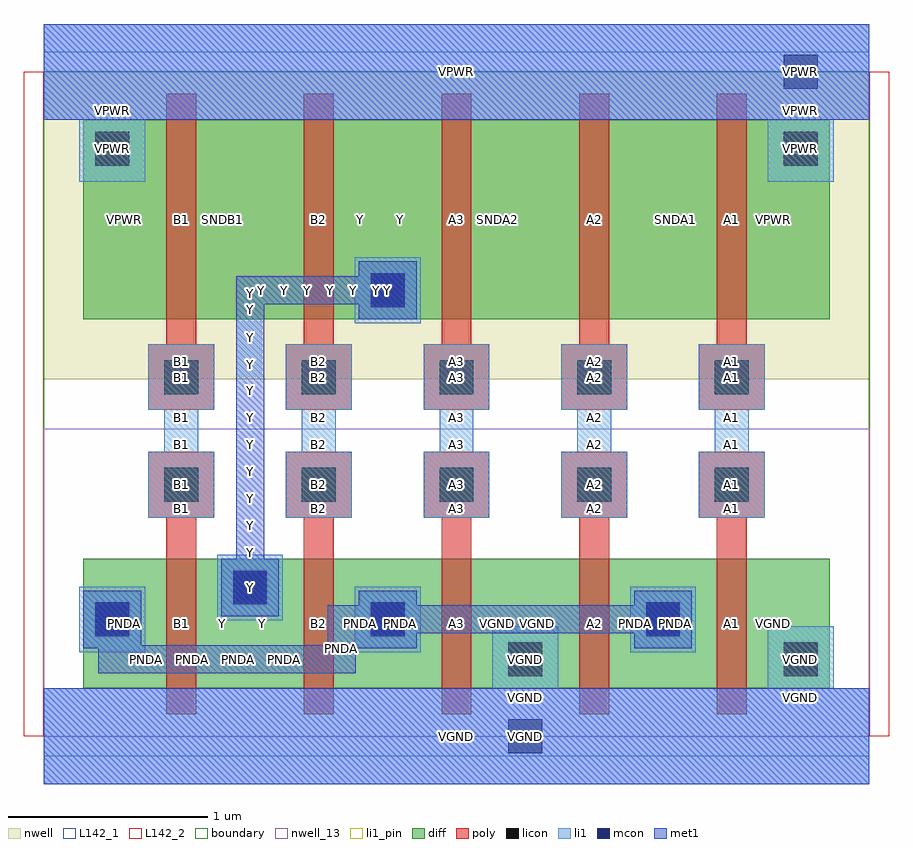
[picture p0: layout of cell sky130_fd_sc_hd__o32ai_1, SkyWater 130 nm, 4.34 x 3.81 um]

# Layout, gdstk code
import gdstk
lib = gdstk.Library(unit=1e-6, precision=1e-09)
def R(c, l, rs):  # rectangles x0, y0, x1, y1
    for r in rs: c.add(gdstk.rectangle(r[:2], r[2:], *l))
def A(c, l, x, y, w, h, nx, ny, dx, dy):  # array of equal rectangles
    R(c, l, [(x+i*dx, y+j*dy, x+i*dx+w, y+j*dy+h) for i in range(nx) for j in range(ny)])
def P(c, l, *ps):  # polygons
    for p in ps: c.add(gdstk.Polygon(p, *l))
nwell_13 = (64, 13)
nwell = (64, 20)
diff = (65, 20)
poly = (66, 20)
licon = (66, 44)
li1_pin = (67, 16)
li1 = (67, 20)
mcon = (67, 44)
met1 = (68, 20)
L142_1 = (142, 1)
L142_2 = (142, 2)
boundary = (235, 4)

sky130_fd_sc_hd__o32ai_1 = lib.new_cell('sky130_fd_sc_hd__o32ai_1')
R(sky130_fd_sc_hd__o32ai_1, nwell_13, [(0,0,4.14,1.54)])
R(sky130_fd_sc_hd__o32ai_1, nwell, [(0,1.79,4.14,3.33)])
A(sky130_fd_sc_hd__o32ai_1, diff, 0.615, 0.24, 0.69, 0.65, 4, 1, 0.69, 0)
A(sky130_fd_sc_hd__o32ai_1, diff, 0.615, 2.09, 0.69, 1, 4, 1, 0.69, 0)
R(sky130_fd_sc_hd__o32ai_1, diff, [(0.2,0.24,3.94,0.89), (0.2,0.24,0.615,0.89), (3.375,0.24,3.94,0.89), (0.2,2.09,3.94,3.09), (0.2,2.09,0.615,3.09), (3.375,2.09,3.94,3.09)])
P(sky130_fd_sc_hd__o32ai_1, poly, [(1.305,0.11),(1.305,1.095),(1.215,1.095),(1.215,1.425),(1.545,1.425),(1.545,1.095),(1.455,1.095),(1.455,0.11)],
  [(1.215,1.635),(1.215,1.965),(1.305,1.965),(1.305,3.22),(1.455,3.22),(1.455,1.965),(1.545,1.965),(1.545,1.635)],
  [(2.685,0.11),(2.685,1.095),(2.595,1.095),(2.595,1.425),(2.925,1.425),(2.925,1.095),(2.835,1.095),(2.835,0.11)],
  [(2.595,1.635),(2.595,1.965),(2.685,1.965),(2.685,3.22),(2.835,3.22),(2.835,1.965),(2.925,1.965),(2.925,1.635)],
  [(3.375,0.11),(3.375,1.095),(3.285,1.095),(3.285,1.425),(3.615,1.425),(3.615,1.095),(3.525,1.095),(3.525,0.11)],
  [(3.285,1.635),(3.285,1.965),(3.375,1.965),(3.375,3.22),(3.525,3.22),(3.525,1.965),(3.615,1.965),(3.615,1.635)],
  [(1.995,0.11),(1.995,1.095),(1.905,1.095),(1.905,1.425),(2.235,1.425),(2.235,1.095),(2.145,1.095),(2.145,0.11)],
  [(1.905,1.635),(1.905,1.965),(1.995,1.965),(1.995,3.22),(2.145,3.22),(2.145,1.965),(2.235,1.965),(2.235,1.635)],
  [(0.615,0.11),(0.615,1.095),(0.525,1.095),(0.525,1.425),(0.855,1.425),(0.855,1.095),(0.765,1.095),(0.765,0.11)],
  [(0.525,1.635),(0.525,1.965),(0.615,1.965),(0.615,3.22),(0.765,3.22),(0.765,1.965),(0.855,1.965),(0.855,1.635)])
A(sky130_fd_sc_hd__o32ai_1, licon, 0.26, 0.5, 0.17, 0.17, 3, 1, 1.38, 0)
A(sky130_fd_sc_hd__o32ai_1, licon, 0.605, 1.175, 0.17, 0.17, 5, 2, 0.69, 0.54)
R(sky130_fd_sc_hd__o32ai_1, licon, [(2.33,0.3,2.5,0.47), (3.71,0.3,3.88,0.47), (0.95,0.66,1.12,0.83), (1.64,2.15,1.81,2.32), (0.26,2.86,0.43,3.03), (3.71,2.86,3.88,3.03)])
R(sky130_fd_sc_hd__o32ai_1, li1_pin, [(0,-0.24,4.14,0.24), (0.87,0.58,1.2,0.91), (0,3.09,4.14,3.57)])
P(sky130_fd_sc_hd__o32ai_1, li1_pin, [(1.215,1.095),(1.215,1.425),(1.295,1.425),(1.295,1.635),(1.215,1.635),(1.215,1.965),(1.545,1.965),(1.545,1.635),(1.465,1.635),(1.465,1.425),(1.545,1.425),(1.545,1.095)],
  [(1.905,1.095),(1.905,1.425),(1.985,1.425),(1.985,1.635),(1.905,1.635),(1.905,1.965),(2.235,1.965),(2.235,1.635),(2.155,1.635),(2.155,1.425),(2.235,1.425),(2.235,1.095)],
  [(3.285,1.095),(3.285,1.425),(3.365,1.425),(3.365,1.635),(3.285,1.635),(3.285,1.965),(3.615,1.965),(3.615,1.635),(3.535,1.635),(3.535,1.425),(3.615,1.425),(3.615,1.095)],
  [(2.595,1.095),(2.595,1.425),(2.675,1.425),(2.675,1.635),(2.595,1.635),(2.595,1.965),(2.925,1.965),(2.925,1.635),(2.845,1.635),(2.845,1.425),(2.925,1.425),(2.925,1.095)],
  [(0.525,1.095),(0.525,1.425),(0.605,1.425),(0.605,1.635),(0.525,1.635),(0.525,1.965),(0.855,1.965),(0.855,1.635),(0.775,1.635),(0.775,1.425),(0.855,1.425),(0.855,1.095)])
A(sky130_fd_sc_hd__o32ai_1, li1, 0.18, 0.42, 0.33, 0.33, 3, 1, 1.38, 0)
R(sky130_fd_sc_hd__o32ai_1, li1, [(0.87,0.58,1.2,0.91), (1.56,2.07,1.89,2.4)])
P(sky130_fd_sc_hd__o32ai_1, li1, [(1.215,1.095),(1.215,1.425),(1.295,1.425),(1.295,1.635),(1.215,1.635),(1.215,1.965),(1.545,1.965),(1.545,1.635),(1.465,1.635),(1.465,1.425),(1.545,1.425),(1.545,1.095)],
  [(2.595,1.095),(2.595,1.425),(2.675,1.425),(2.675,1.635),(2.595,1.635),(2.595,1.965),(2.925,1.965),(2.925,1.635),(2.845,1.635),(2.845,1.425),(2.925,1.425),(2.925,1.095)],
  [(0.18,2.78),(0.18,3.09),(0,3.09),(0,3.57),(4.14,3.57),(4.14,3.09),(3.96,3.09),(3.96,2.78),(3.63,2.78),(3.63,3.09),(0.51,3.09),(0.51,2.78)],
  [(3.285,1.095),(3.285,1.425),(3.365,1.425),(3.365,1.635),(3.285,1.635),(3.285,1.965),(3.615,1.965),(3.615,1.635),(3.535,1.635),(3.535,1.425),(3.615,1.425),(3.615,1.095)],
  [(0,-0.24),(0,0.24),(2.25,0.24),(2.25,0.55),(2.58,0.55),(2.58,0.24),(3.63,0.24),(3.63,0.55),(3.96,0.55),(3.96,0.24),(4.14,0.24),(4.14,-0.24)],
  [(1.905,1.095),(1.905,1.425),(1.985,1.425),(1.985,1.635),(1.905,1.635),(1.905,1.965),(2.235,1.965),(2.235,1.635),(2.155,1.635),(2.155,1.425),(2.235,1.425),(2.235,1.095)],
  [(0.525,1.095),(0.525,1.425),(0.605,1.425),(0.605,1.635),(0.525,1.635),(0.525,1.965),(0.855,1.965),(0.855,1.635),(0.775,1.635),(0.775,1.425),(0.855,1.425),(0.855,1.095)])
A(sky130_fd_sc_hd__o32ai_1, mcon, 0.26, 0.5, 0.17, 0.17, 3, 1, 1.38, 0)
R(sky130_fd_sc_hd__o32ai_1, mcon, [(2.33,-0.085,2.5,0.085), (0.95,0.66,1.12,0.83), (1.64,2.15,1.81,2.32), (3.71,3.245,3.88,3.415)])
R(sky130_fd_sc_hd__o32ai_1, met1, [(0,-0.24,4.14,0.24), (1.565,0.44,1.58,0.515), (0,3.09,4.14,3.57)])
P(sky130_fd_sc_hd__o32ai_1, met1, [(0.89,0.6),(0.89,0.89),(0.965,0.89),(0.965,2.305),(1.58,2.305),(1.58,2.38),(1.87,2.38),(1.87,2.09),(1.58,2.09),(1.58,2.165),(1.105,2.165),(1.105,0.89),(1.18,0.89),(1.18,0.6)],
  [(0.275,0.315),(0.275,0.44),(0.2,0.44),(0.2,0.73),(0.49,0.73),(0.49,0.455),(1.425,0.455),(1.425,0.655),(1.58,0.655),(1.58,0.73),(1.87,0.73),(1.87,0.655),(2.96,0.655),(2.96,0.73),(3.25,0.73),(3.25,0.44),(2.96,0.44),(2.96,0.515),(1.87,0.515),(1.87,0.44),(1.58,0.44),(1.58,0.515),(1.565,0.515),(1.565,0.315)])
R(sky130_fd_sc_hd__o32ai_1, L142_1, [(0,-0.1,4.14,0), (0,3.33,4.14,3.43)])
R(sky130_fd_sc_hd__o32ai_1, L142_2, [(-0.1,0,0,3.33), (4.14,0,4.24,3.33)])
R(sky130_fd_sc_hd__o32ai_1, boundary, [(0,0,4.14,3.33)])
sky130_fd_sc_hd__o32ai_1.add(gdstk.Label('Y', (1.097,0.565), layer=65, texttype=20))
sky130_fd_sc_hd__o32ai_1.add(gdstk.Label('PNDA', (1.587,0.565), layer=65, texttype=20))
sky130_fd_sc_hd__o32ai_1.add(gdstk.Label('PNDA', (1.787,0.565), layer=65, texttype=20))
sky130_fd_sc_hd__o32ai_1.add(gdstk.Label('VGND', (2.277,0.565), layer=65, texttype=20))
sky130_fd_sc_hd__o32ai_1.add(gdstk.Label('PNDA', (3.167,0.565), layer=65, texttype=20))
sky130_fd_sc_hd__o32ai_1.add(gdstk.Label('VGND', (3.657,0.565), layer=65, texttype=20))
sky130_fd_sc_hd__o32ai_1.add(gdstk.Label('VGND', (2.477,0.565), layer=65, texttype=20))
sky130_fd_sc_hd__o32ai_1.add(gdstk.Label('PNDA', (2.967,0.565), layer=65, texttype=20))
sky130_fd_sc_hd__o32ai_1.add(gdstk.Label('PNDA', (0.407,0.565), layer=65, texttype=20))
sky130_fd_sc_hd__o32ai_1.add(gdstk.Label('Y', (0.897,0.565), layer=65, texttype=20))
sky130_fd_sc_hd__o32ai_1.add(gdstk.Label('Y', (1.097,0.565), layer=65, texttype=20))
sky130_fd_sc_hd__o32ai_1.add(gdstk.Label('PNDA', (1.587,0.565), layer=65, texttype=20))
sky130_fd_sc_hd__o32ai_1.add(gdstk.Label('PNDA', (1.787,0.565), layer=65, texttype=20))
sky130_fd_sc_hd__o32ai_1.add(gdstk.Label('VGND', (2.277,0.565), layer=65, texttype=20))
sky130_fd_sc_hd__o32ai_1.add(gdstk.Label('PNDA', (3.167,0.565), layer=65, texttype=20))
sky130_fd_sc_hd__o32ai_1.add(gdstk.Label('VGND', (3.657,0.565), layer=65, texttype=20))
sky130_fd_sc_hd__o32ai_1.add(gdstk.Label('VGND', (2.477,0.565), layer=65, texttype=20))
sky130_fd_sc_hd__o32ai_1.add(gdstk.Label('PNDA', (2.967,0.565), layer=65, texttype=20))
sky130_fd_sc_hd__o32ai_1.add(gdstk.Label('PNDA', (0.407,0.565), layer=65, texttype=20))
sky130_fd_sc_hd__o32ai_1.add(gdstk.Label('Y', (0.897,0.565), layer=65, texttype=20))
sky130_fd_sc_hd__o32ai_1.add(gdstk.Label('Y', (1.035,0.745), layer=65, texttype=20))
sky130_fd_sc_hd__o32ai_1.add(gdstk.Label('PNDA', (1.725,0.585), layer=65, texttype=20))
sky130_fd_sc_hd__o32ai_1.add(gdstk.Label('PNDA', (3.105,0.585), layer=65, texttype=20))
sky130_fd_sc_hd__o32ai_1.add(gdstk.Label('PNDA', (0.345,0.585), layer=65, texttype=20))
sky130_fd_sc_hd__o32ai_1.add(gdstk.Label('VGND', (2.415,0.385), layer=65, texttype=20))
sky130_fd_sc_hd__o32ai_1.add(gdstk.Label('VGND', (3.795,0.385), layer=65, texttype=20))
sky130_fd_sc_hd__o32ai_1.add(gdstk.Label('Y', (1.787,2.59), layer=65, texttype=20))
sky130_fd_sc_hd__o32ai_1.add(gdstk.Label('SNDA2', (2.277,2.59), layer=65, texttype=20))
sky130_fd_sc_hd__o32ai_1.add(gdstk.Label('SNDA1', (3.167,2.59), layer=65, texttype=20))
sky130_fd_sc_hd__o32ai_1.add(gdstk.Label('VPWR', (3.657,2.59), layer=65, texttype=20))
sky130_fd_sc_hd__o32ai_1.add(gdstk.Label('VPWR', (0.407,2.59), layer=65, texttype=20))
sky130_fd_sc_hd__o32ai_1.add(gdstk.Label('SNDB1', (0.897,2.59), layer=65, texttype=20))
sky130_fd_sc_hd__o32ai_1.add(gdstk.Label('SNDA2', (2.477,2.59), layer=65, texttype=20))
sky130_fd_sc_hd__o32ai_1.add(gdstk.Label('SNDA1', (2.967,2.59), layer=65, texttype=20))
sky130_fd_sc_hd__o32ai_1.add(gdstk.Label('SNDB1', (1.097,2.59), layer=65, texttype=20))
sky130_fd_sc_hd__o32ai_1.add(gdstk.Label('Y', (1.587,2.59), layer=65, texttype=20))
sky130_fd_sc_hd__o32ai_1.add(gdstk.Label('Y', (1.787,2.59), layer=65, texttype=20))
sky130_fd_sc_hd__o32ai_1.add(gdstk.Label('SNDA2', (2.277,2.59), layer=65, texttype=20))
sky130_fd_sc_hd__o32ai_1.add(gdstk.Label('SNDA1', (3.167,2.59), layer=65, texttype=20))
sky130_fd_sc_hd__o32ai_1.add(gdstk.Label('VPWR', (3.657,2.59), layer=65, texttype=20))
sky130_fd_sc_hd__o32ai_1.add(gdstk.Label('VPWR', (0.407,2.59), layer=65, texttype=20))
sky130_fd_sc_hd__o32ai_1.add(gdstk.Label('SNDB1', (0.897,2.59), layer=65, texttype=20))
sky130_fd_sc_hd__o32ai_1.add(gdstk.Label('SNDA2', (2.477,2.59), layer=65, texttype=20))
sky130_fd_sc_hd__o32ai_1.add(gdstk.Label('SNDA1', (2.967,2.59), layer=65, texttype=20))
sky130_fd_sc_hd__o32ai_1.add(gdstk.Label('SNDB1', (1.097,2.59), layer=65, texttype=20))
sky130_fd_sc_hd__o32ai_1.add(gdstk.Label('Y', (1.587,2.59), layer=65, texttype=20))
sky130_fd_sc_hd__o32ai_1.add(gdstk.Label('Y', (1.725,2.235), layer=65, texttype=20))
sky130_fd_sc_hd__o32ai_1.add(gdstk.Label('VPWR', (3.795,2.945), layer=65, texttype=20))
sky130_fd_sc_hd__o32ai_1.add(gdstk.Label('VPWR', (0.345,2.945), layer=65, texttype=20))
sky130_fd_sc_hd__o32ai_1.add(gdstk.Label('B2', (1.38,0.565), layer=66, texttype=20))
sky130_fd_sc_hd__o32ai_1.add(gdstk.Label('A3', (2.07,2.59), layer=66, texttype=20))
sky130_fd_sc_hd__o32ai_1.add(gdstk.Label('A3', (2.07,0.565), layer=66, texttype=20))
sky130_fd_sc_hd__o32ai_1.add(gdstk.Label('A1', (3.45,0.565), layer=66, texttype=20))
sky130_fd_sc_hd__o32ai_1.add(gdstk.Label('A2', (2.76,0.565), layer=66, texttype=20))
sky130_fd_sc_hd__o32ai_1.add(gdstk.Label('A1', (3.45,2.59), layer=66, texttype=20))
sky130_fd_sc_hd__o32ai_1.add(gdstk.Label('B1', (0.69,2.59), layer=66, texttype=20))
sky130_fd_sc_hd__o32ai_1.add(gdstk.Label('A2', (2.76,2.59), layer=66, texttype=20))
sky130_fd_sc_hd__o32ai_1.add(gdstk.Label('B1', (0.69,0.565), layer=66, texttype=20))
sky130_fd_sc_hd__o32ai_1.add(gdstk.Label('B2', (1.38,2.59), layer=66, texttype=20))
sky130_fd_sc_hd__o32ai_1.add(gdstk.Label('B2', (1.38,0.565), layer=66, texttype=20))
sky130_fd_sc_hd__o32ai_1.add(gdstk.Label('A3', (2.07,2.59), layer=66, texttype=20))
sky130_fd_sc_hd__o32ai_1.add(gdstk.Label('A3', (2.07,0.565), layer=66, texttype=20))
sky130_fd_sc_hd__o32ai_1.add(gdstk.Label('A1', (3.45,0.565), layer=66, texttype=20))
sky130_fd_sc_hd__o32ai_1.add(gdstk.Label('A2', (2.76,0.565), layer=66, texttype=20))
sky130_fd_sc_hd__o32ai_1.add(gdstk.Label('A1', (3.45,2.59), layer=66, texttype=20))
sky130_fd_sc_hd__o32ai_1.add(gdstk.Label('B1', (0.69,2.59), layer=66, texttype=20))
sky130_fd_sc_hd__o32ai_1.add(gdstk.Label('A2', (2.76,2.59), layer=66, texttype=20))
sky130_fd_sc_hd__o32ai_1.add(gdstk.Label('B1', (0.69,0.565), layer=66, texttype=20))
sky130_fd_sc_hd__o32ai_1.add(gdstk.Label('B2', (1.38,2.59), layer=66, texttype=20))
sky130_fd_sc_hd__o32ai_1.add(gdstk.Label('B2', (1.38,1.14), layer=66, texttype=20))
sky130_fd_sc_hd__o32ai_1.add(gdstk.Label('B2', (1.38,1.88), layer=66, texttype=20))
sky130_fd_sc_hd__o32ai_1.add(gdstk.Label('A3', (2.07,1.88), layer=66, texttype=20))
sky130_fd_sc_hd__o32ai_1.add(gdstk.Label('A3', (2.07,1.14), layer=66, texttype=20))
sky130_fd_sc_hd__o32ai_1.add(gdstk.Label('A1', (3.45,1.14), layer=66, texttype=20))
sky130_fd_sc_hd__o32ai_1.add(gdstk.Label('A1', (3.45,1.88), layer=66, texttype=20))
sky130_fd_sc_hd__o32ai_1.add(gdstk.Label('A2', (2.76,1.14), layer=66, texttype=20))
sky130_fd_sc_hd__o32ai_1.add(gdstk.Label('A2', (2.76,1.88), layer=66, texttype=20))
sky130_fd_sc_hd__o32ai_1.add(gdstk.Label('B1', (0.69,1.88), layer=66, texttype=20))
sky130_fd_sc_hd__o32ai_1.add(gdstk.Label('B1', (0.69,1.14), layer=66, texttype=20))
sky130_fd_sc_hd__o32ai_1.add(gdstk.Label('B2', (1.38,1.26), layer=66, texttype=20))
sky130_fd_sc_hd__o32ai_1.add(gdstk.Label('B2', (1.38,1.8), layer=66, texttype=20))
sky130_fd_sc_hd__o32ai_1.add(gdstk.Label('A3', (2.07,1.8), layer=66, texttype=20))
sky130_fd_sc_hd__o32ai_1.add(gdstk.Label('A3', (2.07,1.26), layer=66, texttype=20))
sky130_fd_sc_hd__o32ai_1.add(gdstk.Label('A1', (3.45,1.26), layer=66, texttype=20))
sky130_fd_sc_hd__o32ai_1.add(gdstk.Label('A1', (3.45,1.8), layer=66, texttype=20))
sky130_fd_sc_hd__o32ai_1.add(gdstk.Label('A2', (2.76,1.26), layer=66, texttype=20))
sky130_fd_sc_hd__o32ai_1.add(gdstk.Label('A2', (2.76,1.8), layer=66, texttype=20))
sky130_fd_sc_hd__o32ai_1.add(gdstk.Label('B1', (0.69,1.8), layer=66, texttype=20))
sky130_fd_sc_hd__o32ai_1.add(gdstk.Label('B1', (0.69,1.26), layer=66, texttype=20))
sky130_fd_sc_hd__o32ai_1.add(gdstk.Label('Y', (1.725,2.235), layer=66, texttype=44))
sky130_fd_sc_hd__o32ai_1.add(gdstk.Label('VPWR', (3.795,2.945), layer=66, texttype=44))
sky130_fd_sc_hd__o32ai_1.add(gdstk.Label('VPWR', (0.345,2.945), layer=66, texttype=44))
sky130_fd_sc_hd__o32ai_1.add(gdstk.Label('Y', (1.035,0.745), layer=66, texttype=44))
sky130_fd_sc_hd__o32ai_1.add(gdstk.Label('PNDA', (1.725,0.585), layer=66, texttype=44))
sky130_fd_sc_hd__o32ai_1.add(gdstk.Label('PNDA', (3.105,0.585), layer=66, texttype=44))
sky130_fd_sc_hd__o32ai_1.add(gdstk.Label('PNDA', (0.345,0.585), layer=66, texttype=44))
sky130_fd_sc_hd__o32ai_1.add(gdstk.Label('VGND', (2.415,0.385), layer=66, texttype=44))
sky130_fd_sc_hd__o32ai_1.add(gdstk.Label('VGND', (3.795,0.385), layer=66, texttype=44))
sky130_fd_sc_hd__o32ai_1.add(gdstk.Label('B2', (1.38,1.26), layer=66, texttype=44))
sky130_fd_sc_hd__o32ai_1.add(gdstk.Label('B2', (1.38,1.8), layer=66, texttype=44))
sky130_fd_sc_hd__o32ai_1.add(gdstk.Label('A3', (2.07,1.8), layer=66, texttype=44))
sky130_fd_sc_hd__o32ai_1.add(gdstk.Label('A3', (2.07,1.26), layer=66, texttype=44))
sky130_fd_sc_hd__o32ai_1.add(gdstk.Label('A1', (3.45,1.26), layer=66, texttype=44))
sky130_fd_sc_hd__o32ai_1.add(gdstk.Label('A1', (3.45,1.8), layer=66, texttype=44))
sky130_fd_sc_hd__o32ai_1.add(gdstk.Label('A2', (2.76,1.26), layer=66, texttype=44))
sky130_fd_sc_hd__o32ai_1.add(gdstk.Label('A2', (2.76,1.8), layer=66, texttype=44))
sky130_fd_sc_hd__o32ai_1.add(gdstk.Label('B1', (0.69,1.8), layer=66, texttype=44))
sky130_fd_sc_hd__o32ai_1.add(gdstk.Label('B1', (0.69,1.26), layer=66, texttype=44))
sky130_fd_sc_hd__o32ai_1.add(gdstk.Label('VPWR', (2.07,3.33), layer=67, texttype=20))
sky130_fd_sc_hd__o32ai_1.add(gdstk.Label('VGND', (2.07,0), layer=67, texttype=20))
sky130_fd_sc_hd__o32ai_1.add(gdstk.Label('VPWR', (2.07,3.33), layer=67, texttype=20))
sky130_fd_sc_hd__o32ai_1.add(gdstk.Label('VGND', (2.07,0), layer=67, texttype=20))
sky130_fd_sc_hd__o32ai_1.add(gdstk.Label('VGND', (2.415,0.192), layer=67, texttype=20))
sky130_fd_sc_hd__o32ai_1.add(gdstk.Label('VGND', (3.795,0.192), layer=67, texttype=20))
sky130_fd_sc_hd__o32ai_1.add(gdstk.Label('VPWR', (3.795,3.137), layer=67, texttype=20))
sky130_fd_sc_hd__o32ai_1.add(gdstk.Label('VPWR', (0.345,3.137), layer=67, texttype=20))
sky130_fd_sc_hd__o32ai_1.add(gdstk.Label('B2', (1.38,1.327), layer=67, texttype=20))
sky130_fd_sc_hd__o32ai_1.add(gdstk.Label('B2', (1.38,1.462), layer=67, texttype=20))
sky130_fd_sc_hd__o32ai_1.add(gdstk.Label('B2', (1.38,1.597), layer=67, texttype=20))
sky130_fd_sc_hd__o32ai_1.add(gdstk.Label('B2', (1.38,1.732), layer=67, texttype=20))
sky130_fd_sc_hd__o32ai_1.add(gdstk.Label('A3', (2.07,1.732), layer=67, texttype=20))
sky130_fd_sc_hd__o32ai_1.add(gdstk.Label('A3', (2.07,1.597), layer=67, texttype=20))
sky130_fd_sc_hd__o32ai_1.add(gdstk.Label('A3', (2.07,1.462), layer=67, texttype=20))
sky130_fd_sc_hd__o32ai_1.add(gdstk.Label('A3', (2.07,1.327), layer=67, texttype=20))
sky130_fd_sc_hd__o32ai_1.add(gdstk.Label('A1', (3.45,1.327), layer=67, texttype=20))
sky130_fd_sc_hd__o32ai_1.add(gdstk.Label('A1', (3.45,1.462), layer=67, texttype=20))
sky130_fd_sc_hd__o32ai_1.add(gdstk.Label('A1', (3.45,1.597), layer=67, texttype=20))
sky130_fd_sc_hd__o32ai_1.add(gdstk.Label('A1', (3.45,1.732), layer=67, texttype=20))
sky130_fd_sc_hd__o32ai_1.add(gdstk.Label('A2', (2.76,1.327), layer=67, texttype=20))
sky130_fd_sc_hd__o32ai_1.add(gdstk.Label('A2', (2.76,1.462), layer=67, texttype=20))
sky130_fd_sc_hd__o32ai_1.add(gdstk.Label('A2', (2.76,1.597), layer=67, texttype=20))
sky130_fd_sc_hd__o32ai_1.add(gdstk.Label('A2', (2.76,1.732), layer=67, texttype=20))
sky130_fd_sc_hd__o32ai_1.add(gdstk.Label('B1', (0.69,1.732), layer=67, texttype=20))
sky130_fd_sc_hd__o32ai_1.add(gdstk.Label('B1', (0.69,1.597), layer=67, texttype=20))
sky130_fd_sc_hd__o32ai_1.add(gdstk.Label('B1', (0.69,1.462), layer=67, texttype=20))
sky130_fd_sc_hd__o32ai_1.add(gdstk.Label('B1', (0.69,1.327), layer=67, texttype=20))
sky130_fd_sc_hd__o32ai_1.add(gdstk.Label('Y', (1.035,0.745), layer=67, texttype=20))
sky130_fd_sc_hd__o32ai_1.add(gdstk.Label('Y', (1.035,0.745), layer=67, texttype=20))
sky130_fd_sc_hd__o32ai_1.add(gdstk.Label('Y', (1.725,2.235), layer=67, texttype=20))
sky130_fd_sc_hd__o32ai_1.add(gdstk.Label('Y', (1.725,2.235), layer=67, texttype=20))
sky130_fd_sc_hd__o32ai_1.add(gdstk.Label('PNDA', (1.725,0.585), layer=67, texttype=20))
sky130_fd_sc_hd__o32ai_1.add(gdstk.Label('PNDA', (1.725,0.585), layer=67, texttype=20))
sky130_fd_sc_hd__o32ai_1.add(gdstk.Label('PNDA', (3.105,0.585), layer=67, texttype=20))
sky130_fd_sc_hd__o32ai_1.add(gdstk.Label('PNDA', (3.105,0.585), layer=67, texttype=20))
sky130_fd_sc_hd__o32ai_1.add(gdstk.Label('PNDA', (0.345,0.585), layer=67, texttype=20))
sky130_fd_sc_hd__o32ai_1.add(gdstk.Label('PNDA', (0.345,0.585), layer=67, texttype=20))
sky130_fd_sc_hd__o32ai_1.add(gdstk.Label('VGND', (2.415,0.385), layer=67, texttype=20))
sky130_fd_sc_hd__o32ai_1.add(gdstk.Label('VGND', (2.415,0), layer=67, texttype=20))
sky130_fd_sc_hd__o32ai_1.add(gdstk.Label('VGND', (3.795,0.385), layer=67, texttype=20))
sky130_fd_sc_hd__o32ai_1.add(gdstk.Label('VPWR', (3.795,2.945), layer=67, texttype=20))
sky130_fd_sc_hd__o32ai_1.add(gdstk.Label('VPWR', (3.795,3.33), layer=67, texttype=20))
sky130_fd_sc_hd__o32ai_1.add(gdstk.Label('VPWR', (0.345,2.945), layer=67, texttype=20))
sky130_fd_sc_hd__o32ai_1.add(gdstk.Label('B2', (1.38,1.26), layer=67, texttype=20))
sky130_fd_sc_hd__o32ai_1.add(gdstk.Label('B2', (1.38,1.8), layer=67, texttype=20))
sky130_fd_sc_hd__o32ai_1.add(gdstk.Label('A3', (2.07,1.8), layer=67, texttype=20))
sky130_fd_sc_hd__o32ai_1.add(gdstk.Label('A3', (2.07,1.26), layer=67, texttype=20))
sky130_fd_sc_hd__o32ai_1.add(gdstk.Label('A1', (3.45,1.26), layer=67, texttype=20))
sky130_fd_sc_hd__o32ai_1.add(gdstk.Label('A1', (3.45,1.8), layer=67, texttype=20))
sky130_fd_sc_hd__o32ai_1.add(gdstk.Label('A2', (2.76,1.26), layer=67, texttype=20))
sky130_fd_sc_hd__o32ai_1.add(gdstk.Label('A2', (2.76,1.8), layer=67, texttype=20))
sky130_fd_sc_hd__o32ai_1.add(gdstk.Label('B1', (0.69,1.8), layer=67, texttype=20))
sky130_fd_sc_hd__o32ai_1.add(gdstk.Label('B1', (0.69,1.26), layer=67, texttype=20))
sky130_fd_sc_hd__o32ai_1.add(gdstk.Label('Y', (1.035,0.745), layer=67, texttype=5))
sky130_fd_sc_hd__o32ai_1.add(gdstk.Label('B2', (1.38,1.26), layer=67, texttype=5))
sky130_fd_sc_hd__o32ai_1.add(gdstk.Label('A3', (2.07,1.26), layer=67, texttype=5))
sky130_fd_sc_hd__o32ai_1.add(gdstk.Label('A1', (3.45,1.26), layer=67, texttype=5))
sky130_fd_sc_hd__o32ai_1.add(gdstk.Label('A2', (2.76,1.26), layer=67, texttype=5))
sky130_fd_sc_hd__o32ai_1.add(gdstk.Label('B1', (0.69,1.26), layer=67, texttype=5))
sky130_fd_sc_hd__o32ai_1.add(gdstk.Label('VGND', (2.07,0), layer=67, texttype=5))
sky130_fd_sc_hd__o32ai_1.add(gdstk.Label('VPWR', (2.07,3.33), layer=67, texttype=5))
sky130_fd_sc_hd__o32ai_1.add(gdstk.Label('Y', (1.035,0.745), layer=67, texttype=44))
sky130_fd_sc_hd__o32ai_1.add(gdstk.Label('Y', (1.725,2.235), layer=67, texttype=44))
sky130_fd_sc_hd__o32ai_1.add(gdstk.Label('PNDA', (1.725,0.585), layer=67, texttype=44))
sky130_fd_sc_hd__o32ai_1.add(gdstk.Label('PNDA', (3.105,0.585), layer=67, texttype=44))
sky130_fd_sc_hd__o32ai_1.add(gdstk.Label('PNDA', (0.345,0.585), layer=67, texttype=44))
sky130_fd_sc_hd__o32ai_1.add(gdstk.Label('VGND', (2.415,0), layer=67, texttype=44))
sky130_fd_sc_hd__o32ai_1.add(gdstk.Label('VPWR', (3.795,3.33), layer=67, texttype=44))
sky130_fd_sc_hd__o32ai_1.add(gdstk.Label('VPWR', (2.07,3.33), layer=68, texttype=20))
sky130_fd_sc_hd__o32ai_1.add(gdstk.Label('VGND', (2.07,0), layer=68, texttype=20))
sky130_fd_sc_hd__o32ai_1.add(gdstk.Label('VPWR', (2.07,3.33), layer=68, texttype=20))
sky130_fd_sc_hd__o32ai_1.add(gdstk.Label('VGND', (2.07,0), layer=68, texttype=20))
sky130_fd_sc_hd__o32ai_1.add(gdstk.Label('Y', (1.035,0.8), layer=68, texttype=20))
sky130_fd_sc_hd__o32ai_1.add(gdstk.Label('Y', (1.035,0.922), layer=68, texttype=20))
sky130_fd_sc_hd__o32ai_1.add(gdstk.Label('Y', (1.035,1.057), layer=68, texttype=20))
sky130_fd_sc_hd__o32ai_1.add(gdstk.Label('Y', (1.035,1.192), layer=68, texttype=20))
sky130_fd_sc_hd__o32ai_1.add(gdstk.Label('Y', (1.035,1.327), layer=68, texttype=20))
sky130_fd_sc_hd__o32ai_1.add(gdstk.Label('Y', (1.035,1.462), layer=68, texttype=20))
sky130_fd_sc_hd__o32ai_1.add(gdstk.Label('Y', (1.035,1.597), layer=68, texttype=20))
sky130_fd_sc_hd__o32ai_1.add(gdstk.Label('Y', (1.035,1.732), layer=68, texttype=20))
sky130_fd_sc_hd__o32ai_1.add(gdstk.Label('Y', (1.035,1.862), layer=68, texttype=20))
sky130_fd_sc_hd__o32ai_1.add(gdstk.Label('Y', (1.035,1.997), layer=68, texttype=20))
sky130_fd_sc_hd__o32ai_1.add(gdstk.Label('Y', (1.035,2.137), layer=68, texttype=20))
sky130_fd_sc_hd__o32ai_1.add(gdstk.Label('Y', (1.035,2.22), layer=68, texttype=20))
sky130_fd_sc_hd__o32ai_1.add(gdstk.Label('Y', (1.092,2.235), layer=68, texttype=20))
sky130_fd_sc_hd__o32ai_1.add(gdstk.Label('Y', (1.207,2.235), layer=68, texttype=20))
sky130_fd_sc_hd__o32ai_1.add(gdstk.Label('Y', (1.322,2.235), layer=68, texttype=20))
sky130_fd_sc_hd__o32ai_1.add(gdstk.Label('Y', (1.437,2.235), layer=68, texttype=20))
sky130_fd_sc_hd__o32ai_1.add(gdstk.Label('Y', (1.552,2.235), layer=68, texttype=20))
sky130_fd_sc_hd__o32ai_1.add(gdstk.Label('Y', (1.667,2.235), layer=68, texttype=20))
sky130_fd_sc_hd__o32ai_1.add(gdstk.Label('PNDA', (1.782,0.585), layer=68, texttype=20))
sky130_fd_sc_hd__o32ai_1.add(gdstk.Label('PNDA', (1.667,0.585), layer=68, texttype=20))
sky130_fd_sc_hd__o32ai_1.add(gdstk.Label('PNDA', (1.897,0.585), layer=68, texttype=20))
sky130_fd_sc_hd__o32ai_1.add(gdstk.Label('PNDA', (2.012,0.585), layer=68, texttype=20))
sky130_fd_sc_hd__o32ai_1.add(gdstk.Label('PNDA', (2.127,0.585), layer=68, texttype=20))
sky130_fd_sc_hd__o32ai_1.add(gdstk.Label('PNDA', (2.242,0.585), layer=68, texttype=20))
sky130_fd_sc_hd__o32ai_1.add(gdstk.Label('PNDA', (2.357,0.585), layer=68, texttype=20))
sky130_fd_sc_hd__o32ai_1.add(gdstk.Label('PNDA', (2.472,0.585), layer=68, texttype=20))
sky130_fd_sc_hd__o32ai_1.add(gdstk.Label('PNDA', (2.587,0.585), layer=68, texttype=20))
sky130_fd_sc_hd__o32ai_1.add(gdstk.Label('PNDA', (2.702,0.585), layer=68, texttype=20))
sky130_fd_sc_hd__o32ai_1.add(gdstk.Label('PNDA', (2.817,0.585), layer=68, texttype=20))
sky130_fd_sc_hd__o32ai_1.add(gdstk.Label('PNDA', (2.932,0.585), layer=68, texttype=20))
sky130_fd_sc_hd__o32ai_1.add(gdstk.Label('PNDA', (3.047,0.585), layer=68, texttype=20))
sky130_fd_sc_hd__o32ai_1.add(gdstk.Label('PNDA', (1.552,0.585), layer=68, texttype=20))
sky130_fd_sc_hd__o32ai_1.add(gdstk.Label('PNDA', (1.495,0.517), layer=68, texttype=20))
sky130_fd_sc_hd__o32ai_1.add(gdstk.Label('PNDA', (1.495,0.437), layer=68, texttype=20))
sky130_fd_sc_hd__o32ai_1.add(gdstk.Label('PNDA', (1.495,0.405), layer=68, texttype=20))
sky130_fd_sc_hd__o32ai_1.add(gdstk.Label('PNDA', (1.437,0.385), layer=68, texttype=20))
sky130_fd_sc_hd__o32ai_1.add(gdstk.Label('PNDA', (1.322,0.385), layer=68, texttype=20))
sky130_fd_sc_hd__o32ai_1.add(gdstk.Label('PNDA', (1.207,0.385), layer=68, texttype=20))
sky130_fd_sc_hd__o32ai_1.add(gdstk.Label('PNDA', (1.092,0.385), layer=68, texttype=20))
sky130_fd_sc_hd__o32ai_1.add(gdstk.Label('PNDA', (0.977,0.385), layer=68, texttype=20))
sky130_fd_sc_hd__o32ai_1.add(gdstk.Label('PNDA', (0.862,0.385), layer=68, texttype=20))
sky130_fd_sc_hd__o32ai_1.add(gdstk.Label('PNDA', (0.747,0.385), layer=68, texttype=20))
sky130_fd_sc_hd__o32ai_1.add(gdstk.Label('PNDA', (0.632,0.385), layer=68, texttype=20))
sky130_fd_sc_hd__o32ai_1.add(gdstk.Label('PNDA', (0.517,0.385), layer=68, texttype=20))
sky130_fd_sc_hd__o32ai_1.add(gdstk.Label('PNDA', (0.402,0.385), layer=68, texttype=20))
sky130_fd_sc_hd__o32ai_1.add(gdstk.Label('PNDA', (0.345,0.405), layer=68, texttype=20))
sky130_fd_sc_hd__o32ai_1.add(gdstk.Label('PNDA', (0.345,0.437), layer=68, texttype=20))
sky130_fd_sc_hd__o32ai_1.add(gdstk.Label('PNDA', (0.345,0.517), layer=68, texttype=20))
sky130_fd_sc_hd__o32ai_1.add(gdstk.Label('Y', (1.035,0.745), layer=68, texttype=20))
sky130_fd_sc_hd__o32ai_1.add(gdstk.Label('Y', (1.725,2.235), layer=68, texttype=20))
sky130_fd_sc_hd__o32ai_1.add(gdstk.Label('PNDA', (1.725,0.585), layer=68, texttype=20))
sky130_fd_sc_hd__o32ai_1.add(gdstk.Label('PNDA', (3.105,0.585), layer=68, texttype=20))
sky130_fd_sc_hd__o32ai_1.add(gdstk.Label('PNDA', (0.345,0.585), layer=68, texttype=20))
sky130_fd_sc_hd__o32ai_1.add(gdstk.Label('VGND', (2.415,0), layer=68, texttype=20))
sky130_fd_sc_hd__o32ai_1.add(gdstk.Label('VPWR', (3.795,3.33), layer=68, texttype=20))
sky130_fd_sc_hd__o32ai_1.add(gdstk.Label('VGND', (2.07,0), layer=68, texttype=5))
sky130_fd_sc_hd__o32ai_1.add(gdstk.Label('VPWR', (2.07,3.33), layer=68, texttype=5))

lib.write_gds('sky130_fd_sc_hd__o32ai_1.gds')
